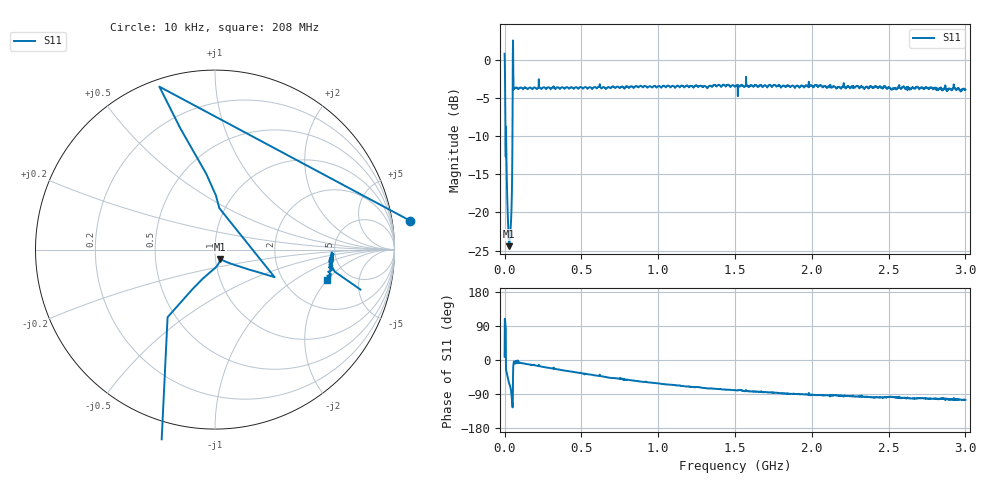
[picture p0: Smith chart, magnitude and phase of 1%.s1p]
# HZ S RI R 50
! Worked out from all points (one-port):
!   2020 points, 10 kHz to 3 GHz, reference 50 ohm
!   lowest |S11| = -24.4 dB at 29.73 MHz (marker M1), VSWR 1.13, Z = 52.6 - j5.62 ohm
!   |S11| at or under -10 dB: 5.746 MHz to 8.449 MHz (2.703 MHz wide, 38.1 % of centre); 9.707 MHz to 51.06 MHz (41.36 MHz wide, 136 % of centre)
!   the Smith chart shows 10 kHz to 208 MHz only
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10000  1.086 0.1614
7439395  0.0241 0.2311
1.635467e7  0.104 -0.0834
1.932643e7  0.0747 -0.0733
2.378406e7  0.048 -0.0626
2.972758e7  0.0279 -0.0532
3.418522e7  0.0264 -0.0614
3.715698e7  0.0238 -0.0694
3.864285e7  0.0221 -0.074
4.161461e7  0.0158 -0.0852
5.795928e7  0.6672 -0.123
6.39028e7  0.6473 -0.0552
6.836043e7  0.6435 -0.1109
6.984631e7  0.6544 -0.045
7.133219e7  0.6542 -0.043
7.430395e7  0.6536 -0.0665
3.759374e8  0.5904 -0.2998
6.032769e8  0.4912 -0.4353
7.503789e8  0.4346 -0.4892
8.930233e8  0.3626 -0.5642
1.126306e9  0.2633 -0.6231
1.500748e9  0.1253 -0.6548
1.875189e9  0.00992 -0.6779
2.251117e9  -0.0556 -0.6519
2.40119e9  -0.1023 -0.6479
2.514117e9  -0.0786 -0.6427
2.625558e9  -0.118 -0.648
3e9  -0.1662 -0.6165
